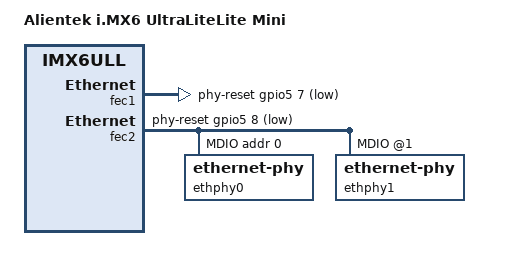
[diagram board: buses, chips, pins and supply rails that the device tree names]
// SPDX-License-Identifier: (GPL-2.0 OR MIT)
//
// Copyright (C) 2016 Freescale Semiconductor, Inc.

/dts-v1/;

#include "imx6ull.dtsi"
#include "imx6ul-14x14-evk.dtsi"

/ {
	model = "Alientek i.MX6 UltraLiteLite Mini";
	compatible = "fsl,imx6ull-alientek", "fsl,imx6ull";

	spi4 {
		status = "disabled";
	};
};

&clks {
	assigned-clocks = <&clks IMX6UL_CLK_PLL3_PFD2>;
	assigned-clock-rates = <320000000>;
};

&iomuxc {
	pinctrl_spi4: spi4grp {
		fsl,pins = <
			MX6UL_PAD_BOOT_MODE0__GPIO5_IO10	0x70a1
			MX6UL_PAD_BOOT_MODE1__GPIO5_IO11	0x70a1
		>;
	};

	pinctrl_enet1: enet1grp {
		fsl,pins = <
			MX6UL_PAD_ENET1_RX_EN__ENET1_RX_EN	0x1b0b0
			MX6UL_PAD_ENET1_RX_ER__ENET1_RX_ER	0x1b0b0
			MX6UL_PAD_ENET1_RX_DATA0__ENET1_RDATA00	0x1b0b0
			MX6UL_PAD_ENET1_RX_DATA1__ENET1_RDATA01	0x1b0b0
			MX6UL_PAD_ENET1_TX_EN__ENET1_TX_EN	0x1b0b0
			MX6UL_PAD_ENET1_TX_DATA0__ENET1_TDATA00	0x1b0b0
			MX6UL_PAD_ENET1_TX_DATA1__ENET1_TDATA01	0x1b0b0
			MX6UL_PAD_ENET1_TX_CLK__ENET1_REF_CLK1	0x4001b031
			MX6UL_PAD_SNVS_TAMPER7__GPIO5_IO07  0x10b0
		>;
	};

	pinctrl_enet2: enet2grp {
		fsl,pins = <
			MX6UL_PAD_GPIO1_IO07__ENET2_MDC		0x1b0b0
			MX6UL_PAD_GPIO1_IO06__ENET2_MDIO	0x1b0b0
			MX6UL_PAD_ENET2_RX_EN__ENET2_RX_EN	0x1b0b0
			MX6UL_PAD_ENET2_RX_ER__ENET2_RX_ER	0x1b0b0
			MX6UL_PAD_ENET2_RX_DATA0__ENET2_RDATA00	0x1b0b0
			MX6UL_PAD_ENET2_RX_DATA1__ENET2_RDATA01	0x1b0b0
			MX6UL_PAD_ENET2_TX_EN__ENET2_TX_EN	0x1b0b0
			MX6UL_PAD_ENET2_TX_DATA0__ENET2_TDATA00	0x1b0b0
			MX6UL_PAD_ENET2_TX_DATA1__ENET2_TDATA01	0x1b0b0
			MX6UL_PAD_ENET2_TX_CLK__ENET2_REF_CLK2	0x4001b031
			MX6UL_PAD_SNVS_TAMPER8__GPIO5_IO08  0x10b0
		>;
	};
};

&fec1 {
	phy-reset-gpios = <&gpio5 7 GPIO_ACTIVE_LOW>;
	phy-reset-duration = <25>;
};

&fec2 {
	phy-reset-gpios = <&gpio5 8 GPIO_ACTIVE_LOW>;
	phy-reset-duration = <25>;

	mdio {
		/delete-node/ ethernet-phy@2;
		ethphy0: ethernet-phy@0 {
			reg = <0>;
			smsc,led-mode = <1>;
			clocks = <&clks IMX6UL_CLK_ENET_REF>;
			clock-names = "rmii-ref";
		};

		ethphy1: ethernet-phy@1 {
			smsc,led-mode = <1>;
		};
	};
};
